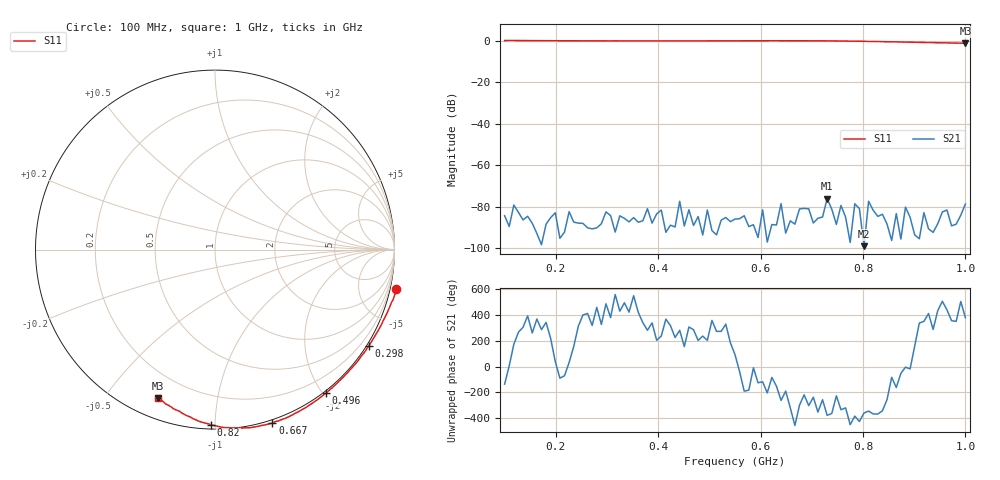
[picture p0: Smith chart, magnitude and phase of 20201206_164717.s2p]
# HZ S RI R 50
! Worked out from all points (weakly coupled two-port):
!   101 points, 100 MHz to 1 GHz, reference 50 ohm
!   highest |S21| = -76.16 dB at 730 MHz (marker M1); lowest = -99.1 dB at 802 MHz (marker M2)
!   lowest |S11| = -1.1 dB at 1 GHz (marker M3), VSWR 16.41, Z = 4.48 - j34.2 ohm
!   |S11| at or under -10 dB: nowhere
!   S12 and S22 are empty: the file has one direction only
!   S11 on the Smith chart (normalised r, x): 100 MHz: -1.28, -9.10; 298 MHz: -0.07, -3.47; 496 MHz: -0.03, -2.04; 667 MHz: -0.02, -1.38; 820 MHz: 0.02, -0.98; 1 GHz: 0.09, -0.68
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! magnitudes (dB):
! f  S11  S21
! 100 MHz  0.3  -84.4
! 253 MHz  0.1  -88.1
! 298 MHz  0.1  -82.6
! 406 MHz  0.1  -81.7
! 433 MHz  0.1  -89.9
! 442 MHz  0.1  -77.4
! 451 MHz  0.1  -89.4
! 496 MHz  0.1  -81.7
! 550 MHz  0.1  -86.0
! 631 MHz  0.2  -88.9
! 640 MHz  0.1  -78.6
! 667 MHz  0.1  -88.5
! 703 MHz  0.1  -87.9
! 721 MHz  0.1  -85.0
! 730 MHz  0.1  -76.2
! 739 MHz  0.1  -81.3
! 784 MHz  -0.1  -78.7
! 802 MHz  -0.1  -99.1
! 811 MHz  -0.2  -77.4
! 820 MHz  -0.2  -81.8
! 856 MHz  -0.4  -96.4
! 1 GHz  -1.1  -78.8
